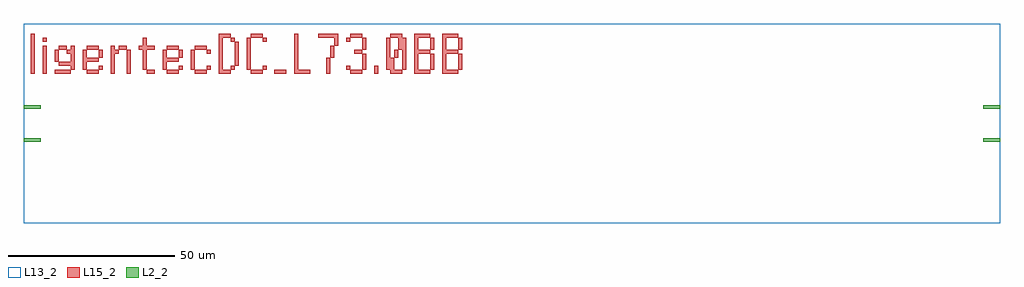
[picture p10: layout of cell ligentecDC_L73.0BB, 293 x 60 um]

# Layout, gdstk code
import gdstk
lib = gdstk.Library(unit=1e-6, precision=5e-09)
def R(c, l, rs):  # rectangles x0, y0, x1, y1
    for r in rs: c.add(gdstk.rectangle(r[:2], r[2:], *l))
def A(c, l, x, y, w, h, nx, ny, dx, dy):  # array of equal rectangles
    R(c, l, [(x+i*dx, y+j*dy, x+i*dx+w, y+j*dy+h) for i in range(nx) for j in range(ny)])
L2_2 = (2, 2)
L13_2 = (13, 2)
L15_2 = (15, 2)

ligentecdc_l73_0bb = lib.new_cell('ligentecDC_L73.0BB')
R(ligentecdc_l73_0bb, L2_2, [(-5,-0.5,0,0.5), (283,-0.5,288,0.5), (-5,9.5,0,10.5), (283,9.5,288,10.5)])
R(ligentecdc_l73_0bb, L13_2, [(-5,-25,288,35)])
A(ligentecdc_l73_0bb, L15_2, 13.8, 20, 3.6, 1.2, 1, 3, 0, 3.6)
A(ligentecdc_l73_0bb, L15_2, 37.8, 20, 3.6, 1.2, 1, 3, 0, 3.6)
A(ligentecdc_l73_0bb, L15_2, 63, 20, 3.6, 1.2, 3, 1, 7.2, 0)
R(ligentecdc_l73_0bb, L15_2, [(-3,20,-1.8,32), (0.6,20,1.8,28.4), (4.2,20,9,21.2), (21,20,22.2,28.4), (25.8,20,27,27.2), (31.8,20,34.2,21.2), (46.2,20,49.8,21.2), (53.4,20,54.6,32), (54.6,20,57,21.2), (76.2,20,77.4,32), (85.8,20,87,24.8), (93,20,96.6,21.2), (100.2,20,101.4,22.4), (105,20,106.2,24.8), (106.2,20,108.6,21.2), (112.2,20,113.4,32), (113.4,20,117,21.2), (120.6,20,121.8,32), (121.8,20,125.4,21.2), (9,21.2,10.2,28.4), (12.6,21.2,13.8,27.2), (17.4,21.2,18.6,22.4), (30.6,21.2,31.8,30.8), (36.6,21.2,37.8,27.2), (41.4,21.2,42.6,22.4), (45,21.2,46.2,27.2), (49.8,21.2,51,22.4), (57,21.2,58.2,22.4), (61.8,21.2,63,30.8), (66.6,21.2,67.8,22.4), (91.8,21.2,93,22.4), (96.6,21.2,97.8,26), (103.8,21.2,105,30.8), (108.6,21.2,109.8,30.8), (117,21.2,118.2,26), (125.4,21.2,126.6,26), (5.4,22.4,9,23.6), (58.2,22.4,59.4,29.6), (4.2,23.6,5.4,27.2), (17.4,24.8,18.6,27.2), (41.4,24.8,42.6,27.2), (87,24.8,88.2,28.4), (106.2,24.8,107.4,27.2), (7.8,26,9,27.2), (22.2,26,23.4,27.2), (49.8,26,51,27.2), (94.2,26,96.6,27.2), (113.4,26,117,27.2), (121.8,26,125.4,27.2), (5.4,27.2,7.8,28.4), (23.4,27.2,25.8,28.4), (29.4,27.2,30.6,28.4), (31.8,27.2,34.2,28.4), (46.2,27.2,49.8,28.4), (96.6,27.2,97.8,30.8), (107.4,27.2,108.6,32), (117,27.2,118.2,30.8), (125.4,27.2,126.6,30.8), (88.2,28.4,89.4,32), (0.6,29.6,1.8,30.8), (57,29.6,58.2,30.8), (66.6,29.6,67.8,30.8), (91.8,29.6,93,30.8), (54.6,30.8,57,32), (63,30.8,66.6,32), (83.4,30.8,88.2,32), (93,30.8,96.6,32), (105,30.8,107.4,32), (113.4,30.8,117,32), (121.8,30.8,125.4,32)])

lib.write_gds('ligentecDC_L73.0BB.gds')
